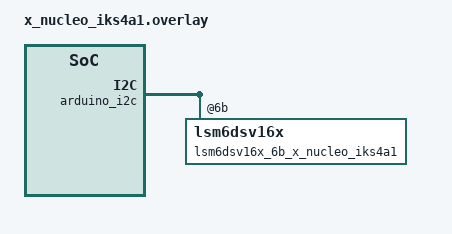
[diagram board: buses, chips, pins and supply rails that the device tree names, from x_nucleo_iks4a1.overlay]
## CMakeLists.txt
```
# Copyright (c) 2024 STMicroelectronics
# SPDX-License-Identifier: Apache-2.0

cmake_minimum_required(VERSION 3.28.0)

find_package(Zephyr REQUIRED HINTS $ENV{ZEPHYR_BASE})
project(6dof_fifo_stream)

FILE(GLOB app_sources src/*.c)
target_sources(app PRIVATE ${app_sources})
```

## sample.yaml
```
sample:
  name: Stream FIFO sample
tests:
  sample.sensor.6dof_fifo_stream:
    platform_type:
      - mcu
    harness: console
    tags: sensors
    filter: dt_alias_exists("stream0")
    harness_config:
      type: one_line
      regex:
        - "^\\s*[0-9A-Za-z_,+-.]*@[0-9A-Fa-f]* \\[m\/s\\^2\\]:    \
           \\(\\s*-?[0-9\\.]*,\\s*-?[0-9\\.]*,\\s*-?[0-9\\.]*\\)$"
```

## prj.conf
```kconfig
# Copyright (c) 2024 STMicroelectronics
# SPDX-License-Identifier: Apache-2.0

CONFIG_STDOUT_CONSOLE=y
CONFIG_SENSOR=y
CONFIG_SENSOR_ASYNC_API=y
CONFIG_CBPRINTF_FP_SUPPORT=y
```

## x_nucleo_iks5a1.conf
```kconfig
# Copyright (c) 2026 STMicroelectronics
# SPDX-License-Identifier: Apache-2.0

CONFIG_LSM6DSVXXX_STREAM=y
CONFIG_LSM6DSVXXX_ENABLE_TEMP=y
```

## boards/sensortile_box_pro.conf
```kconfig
# Copyright (c) 2025 STMicroelectronics
# SPDX-License-Identifier: Apache-2.0

CONFIG_SPI_RTIO=y
CONFIG_LSM6DSV16X_STREAM=y
CONFIG_LSM6DSV16X_ENABLE_TEMP=y
```

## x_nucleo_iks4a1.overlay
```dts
/*
 * Copyright (c) 2024 - 2026 STMicroelectronics
 *
 * SPDX-License-Identifier: Apache-2.0
 */

#include <zephyr/dt-bindings/sensor/lsm6dsv16x.h>

/ {
	aliases {
		stream0 = &lsm6dsv16x_6b_x_nucleo_iks4a1;
	};
};

&arduino_i2c {
	lsm6dsv16x_6b_x_nucleo_iks4a1: lsm6dsv16x@6b {
		accel-odr = <LSM6DSVXXX_DT_ODR_AT_480Hz>;
		accel-range = <LSM6DSV16X_DT_FS_16G>;
		gyro-odr = <LSM6DSVXXX_DT_ODR_AT_480Hz>;
		gyro-range = <LSM6DSV16X_DT_FS_500DPS>;

		fifo-watermark = <64>;
		accel-fifo-batch-rate = <LSM6DSVXXX_DT_XL_BATCHED_AT_15Hz>;
		gyro-fifo-batch-rate = <LSM6DSVXXX_DT_GY_BATCHED_AT_15Hz>;
		temp-fifo-batch-rate = <LSM6DSVXXX_DT_TEMP_BATCHED_AT_15Hz>;

		sflp-odr = <LSM6DSVXXX_DT_SFLP_ODR_AT_15Hz>;
		sflp-fifo-enable = <LSM6DSVXXX_DT_SFLP_FIFO_GAME_ROTATION_GRAVITY_GBIAS>;
	};
};
```

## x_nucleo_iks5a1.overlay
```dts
/*
 * Copyright (c) 2026 STMicroelectronics
 *
 * SPDX-License-Identifier: Apache-2.0
 */

#include <zephyr/dt-bindings/sensor/ism6hg256x.h>

/ {
	aliases {
		stream0 = &ism6hg256x_6a_x_nucleo_iks5a1;
	};
};

&arduino_i2c {
	ism6hg256x_6a_x_nucleo_iks5a1: ism6hg256x@6a {
		accel-odr = <ISM6HG256X_HG_XL_ODR_AT_480Hz>;
		accel-range = <ISM6HG256X_DT_FS_16G>;
		gyro-odr = <ISM6HG256X_HG_XL_ODR_AT_480Hz>;
		gyro-range = <ISM6HG256X_DT_FS_500DPS>;

		fifo-watermark = <64>;
		accel-fifo-batch-rate = <LSM6DSVXXX_DT_XL_BATCHED_AT_15Hz>;
		gyro-fifo-batch-rate = <LSM6DSVXXX_DT_GY_BATCHED_AT_15Hz>;
		temp-fifo-batch-rate = <LSM6DSVXXX_DT_TEMP_BATCHED_AT_15Hz>;

		sflp-odr = <LSM6DSVXXX_DT_SFLP_ODR_AT_15Hz>;
		sflp-fifo-enable = <LSM6DSVXXX_DT_SFLP_FIFO_GAME_ROTATION_GRAVITY_GBIAS>;
	};
};
```

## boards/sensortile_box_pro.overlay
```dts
/*
 * Copyright (c) 2025 STMicroelectronics
 *
 * SPDX-License-Identifier: Apache-2.0
 */
#include <zephyr/dt-bindings/sensor/lsm6dsv16x.h>

/*
 * This devicetree overlay file will be automatically picked by the Zephyr
 * build system when building the sample for the sensortile_box_pro board.
 */

/ {
	aliases {
		stream0 = &lsm6dsv16x_0;
	};
};

&spi2 {
	lsm6dsv16x_0: lsm6dsv16x@0 {
		compatible = "st,lsm6dsv16x";

		accel-odr = <LSM6DSVXXX_DT_ODR_AT_480Hz>;
		accel-range = <LSM6DSV16X_DT_FS_16G>;
		gyro-odr = <LSM6DSVXXX_DT_ODR_AT_480Hz>;
		gyro-range = <LSM6DSV16X_DT_FS_500DPS>;
		fifo-watermark = <64>;
		accel-fifo-batch-rate = <LSM6DSVXXX_DT_XL_BATCHED_AT_15Hz>;
		gyro-fifo-batch-rate = <LSM6DSVXXX_DT_GY_BATCHED_AT_15Hz>;
		temp-fifo-batch-rate = <LSM6DSVXXX_DT_TEMP_BATCHED_AT_15Hz>;

		sflp-odr = <LSM6DSVXXX_DT_SFLP_ODR_AT_15Hz>;
		sflp-fifo-enable = <LSM6DSVXXX_DT_SFLP_FIFO_GAME_ROTATION_GRAVITY_GBIAS>;
	};
};
```

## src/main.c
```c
/*
 * Copyright (c) 2024 STMicroelectronics
 *
 * SPDX-License-Identifier: Apache-2.0
 */

#include <stdio.h>
#include <stdlib.h>

#include <zephyr/device.h>
#include <zephyr/drivers/sensor.h>
#include <zephyr/sys/util_macro.h>
#include <zephyr/kernel.h>
#include <zephyr/rtio/rtio.h>

#define STREAMDEV_ALIAS(i) DT_ALIAS(_CONCAT(stream, i))
#define STREAMDEV_DEVICE(i, _) \
	IF_ENABLED(DT_NODE_EXISTS(STREAMDEV_ALIAS(i)), (DEVICE_DT_GET(STREAMDEV_ALIAS(i)),))
#define NUM_SENSORS 1

/* support up to 10 sensors */
static const struct device *const sensors[] = { LISTIFY(10, STREAMDEV_DEVICE, ()) };

#define STREAM_IODEV_SYM(id) CONCAT(stream_iodev, id)
#define STREAM_IODEV_PTR(id, _) &STREAM_IODEV_SYM(id)

#define STREAM_TRIGGERS					   \
	{ SENSOR_TRIG_FIFO_FULL, SENSOR_STREAM_DATA_NOP }, \
	{ SENSOR_TRIG_FIFO_WATERMARK, SENSOR_STREAM_DATA_INCLUDE }

#define STREAM_DEFINE_IODEV(id, _)    \
	SENSOR_DT_STREAM_IODEV(	      \
		STREAM_IODEV_SYM(id), \
		STREAMDEV_ALIAS(id),  \
		STREAM_TRIGGERS);

LISTIFY(NUM_SENSORS, STREAM_DEFINE_IODEV, (;));

struct rtio_iodev *iodevs[NUM_SENSORS] = { LISTIFY(NUM_SENSORS, STREAM_IODEV_PTR, (,)) };

RTIO_DEFINE_WITH_MEMPOOL(stream_ctx, NUM_SENSORS, NUM_SENSORS,
			 NUM_SENSORS * 20, 256, sizeof(void *));

struct sensor_chan_spec accel_chan = { SENSOR_CHAN_ACCEL_XYZ, 0 };
struct sensor_chan_spec gyro_chan = { SENSOR_CHAN_GYRO_XYZ, 0 };
struct sensor_chan_spec temp_chan = { SENSOR_CHAN_DIE_TEMP, 0 };
struct sensor_chan_spec rot_vector_chan = { SENSOR_CHAN_GAME_ROTATION_VECTOR, 0 };
struct sensor_chan_spec gravity_chan = { SENSOR_CHAN_GRAVITY_VECTOR, 0 };
struct sensor_chan_spec gbias_chan = { SENSOR_CHAN_GBIAS_XYZ, 0 };

#define TASK_STACK_SIZE           2048ul
static K_THREAD_STACK_ARRAY_DEFINE(thread_stack, NUM_SENSORS, TASK_STACK_SIZE);
static struct k_thread thread_id[NUM_SENSORS];

static void print_stream(void *p1, void *p2, void *p3)
{
	const struct device *dev = (const struct device *)p1;
	struct rtio_iodev *iodev = (struct rtio_iodev *)p2;
	int rc = 0;
	const struct sensor_decoder_api *decoder;
	struct rtio_cqe *cqe;
	uint8_t *buf;
	uint32_t buf_len;
	rtio_sqe_handle_t handle;
	uint8_t accel_buf[128] = { 0 };
	uint8_t gyro_buf[128] = { 0 };
	uint8_t temp_buf[64] = { 0 };
	uint8_t rot_vect_buf[128] = { 0 };
	uint8_t gravity_buf[128] = { 0 };
	uint8_t gbias_buf[128] = { 0 };
	struct sensor_three_axis_data *accel_data = (struct sensor_three_axis_data *)accel_buf;
	struct sensor_three_axis_data *gyro_data = (struct sensor_three_axis_data *)gyro_buf;
	struct sensor_q31_data *temp_data = (struct sensor_q31_data *)temp_buf;
	struct sensor_game_rotation_vector_data *rot_vect_data =
				(struct sensor_game_rotation_vector_data *)rot_vect_buf;
	struct sensor_three_axis_data *gravity_data = (struct sensor_three_axis_data *)gravity_buf;
	struct sensor_three_axis_data *gbias_data = (struct sensor_three_axis_data *)gbias_buf;

	/* Start the stream */
	printk("sensor_stream\n");
	sensor_stream(iodev, &stream_ctx, NULL, &handle);

	while (1) {
		cqe = rtio_cqe_consume_block(&stream_ctx);

		if (cqe->result != 0) {
			printk("async read failed %d\n", cqe->result);
			return;
		}

		rc = rtio_cqe_get_mempool_buffer(&stream_ctx, cqe, &buf, &buf_len);

		if (rc != 0) {
			printk("get mempool buffer failed %d\n", rc);
			return;
		}

		const struct device *sensor = dev;

		rtio_cqe_release(&stream_ctx, cqe);

		rc = sensor_get_decoder(sensor, &decoder);

		if (rc != 0) {
			printk("sensor_get_decoder failed %d\n", rc);
			return;
		}

		/* Frame iterator values when data comes from a FIFO */
		uint32_t accel_fit = 0, gyro_fit = 0;
		uint32_t temp_fit = 0;
		uint32_t rot_vect_fit = 0, gravity_fit = 0, gbias_fit = 0;

		/* Number of sensor data frames */
		uint16_t xl_count, gy_count, tp_count;
		uint16_t rot_vect_count, gravity_count, gbias_count, frame_count;

		rc = decoder->get_frame_count(buf, accel_chan, &xl_count);
		rc += decoder->get_frame_count(buf, gyro_chan, &gy_count);
		rc += decoder->get_frame_count(buf, temp_chan, &tp_count);
		rc += decoder->get_frame_count(buf, rot_vector_chan, &rot_vect_count);
		rc += decoder->get_frame_count(buf, gravity_chan, &gravity_count);
		rc += decoder->get_frame_count(buf, gbias_chan, &gbias_count);

		if (rc != 0) {
			printk("sensor_get_frame failed %d\n", rc);
			return;
		}

		frame_count = xl_count + gy_count + tp_count;
		frame_count += rot_vect_count + gravity_count + gbias_count;

		/* If a tap has occurred lets print it out */
		if (decoder->has_trigger(buf, SENSOR_TRIG_TAP)) {
			printk("Tap! Sensor %s\n", dev->name);
		}

		/* Decode all available sensor FIFO frames */
		printk("FIFO count - %d\n", frame_count);

		int i = 0;

		while (i < frame_count) {
			int8_t c = 0;

			/* decode and print Accelerometer FIFO frames */
			c = decoder->decode(buf, accel_chan, &accel_fit, 8, accel_data);

			for (int k = 0; k < c; k++) {
				printk("XL data for %s %lluns (%" PRIq(6) ", %" PRIq(6)
				       ", %" PRIq(6) ")\n", dev->name,
				       PRIsensor_three_axis_data_arg(*accel_data, k));
			}
			i += c;

			/* decode and print Gyroscope FIFO frames */
			c = decoder->decode(buf, gyro_chan, &gyro_fit, 8, gyro_data);

			for (int k = 0; k < c; k++) {
				printk("GY data for %s %lluns (%" PRIq(6) ", %" PRIq(6)
				       ", %" PRIq(6) ")\n", dev->name,
				       PRIsensor_three_axis_data_arg(*gyro_data, k));
			}
			i += c;

			/* decode and print Temperature FIFO frames */
			c = decoder->decode(buf, temp_chan, &temp_fit, 4, temp_data);

			for (int k = 0; k < c; k++) {
				printk("TP data for %s %lluns %s%d.%d °C\n", dev->name,
				       PRIsensor_q31_data_arg(*temp_data, k));
			}
			i += c;

			/* decode and print Game Rotation Vector FIFO frames */
			c = decoder->decode(buf, rot_vector_chan, &rot_vect_fit, 8, rot_vect_data);

			for (int k = 0; k < c; k++) {
				printk("ROT data for %s %lluns (%" PRIq(6) ", %" PRIq(6)
				       ", %" PRIq(6) ", %" PRIq(6) ")\n", dev->name,
				       PRIsensor_game_rotation_vector_data_arg(*rot_vect_data, k));
			}
			i += c;

			/* decode and print Gravity Vector FIFO frames */
			c = decoder->decode(buf, gravity_chan, &gravity_fit, 8, gravity_data);

			for (int k = 0; k < c; k++) {
				printk("GV data for %s %lluns (%" PRIq(6) ", %" PRIq(6)
				       ", %" PRIq(6) ")\n", dev->name,
				       PRIsensor_three_axis_data_arg(*gravity_data, k));
			}
			i += c;

			/* decode and print Gyroscope GBIAS FIFO frames */
			c = decoder->decode(buf, gbias_chan, &gbias_fit, 8, gbias_data);

			for (int k = 0; k < c; k++) {
				printk("GY GBIAS data for %s %lluns (%" PRIq(6) ", %" PRIq(6)
				       ", %" PRIq(6) ")\n", dev->name,
				       PRIsensor_three_axis_data_arg(*gbias_data, k));
			}
			i += c;
		}

		rtio_release_buffer(&stream_ctx, buf, buf_len);
	}
}

static void check_sensor_is_off(const struct device *dev)
{
	int ret;
	struct sensor_value odr;

	ret = sensor_attr_get(dev, SENSOR_CHAN_ACCEL_XYZ, SENSOR_ATTR_SAMPLING_FREQUENCY, &odr);

	/* Check if accel is off */
	if (ret != 0 || (odr.val1 == 0 && odr.val2 == 0)) {
		printk("%s WRN : accelerometer device is off\n", dev->name);
	}

	ret = sensor_attr_get(dev, SENSOR_CHAN_GYRO_XYZ, SENSOR_ATTR_SAMPLING_FREQUENCY, &odr);

	/* Check if gyro is off */
	if (ret != 0 || (odr.val1 == 0 && odr.val2 == 0)) {
		printk("%s WRN : gyroscope device is off\n", dev->name);
	}
}

int main(void)
{
	struct sensor_value gbias[3];

	for (size_t i = 0; i < ARRAY_SIZE(sensors); i++) {
		if (!device_is_ready(sensors[i])) {
			printk("sensor: device %s not ready.\n", sensors[i]->name);
			return 0;
		}
		check_sensor_is_off(sensors[i]);

		/*
		 * Set GBIAS as 0.5 rad/s, -1 rad/s, 0.2 rad/s
		 *
		 * (here application should initialize gbias x/y/z with latest values
		 * calculated from previous run and probably saved to non volatile memory)
		 */
		gbias[0].val1 = 0;
		gbias[0].val2 = 500000;
		gbias[1].val1 = -1;
		gbias[1].val2 = 0;
		gbias[2].val1 = 0;
		gbias[2].val2 = 200000;
		sensor_attr_set(sensors[i], SENSOR_CHAN_GBIAS_XYZ, SENSOR_ATTR_OFFSET, gbias);

		k_thread_create(&thread_id[i], thread_stack[i], TASK_STACK_SIZE, print_stream,
			(void *)sensors[i], (void *)iodevs[i], NULL, K_PRIO_COOP(5),
			K_INHERIT_PERMS, K_FOREVER);
		k_thread_start(&thread_id[i]);
	}

	return 0;
}
```
